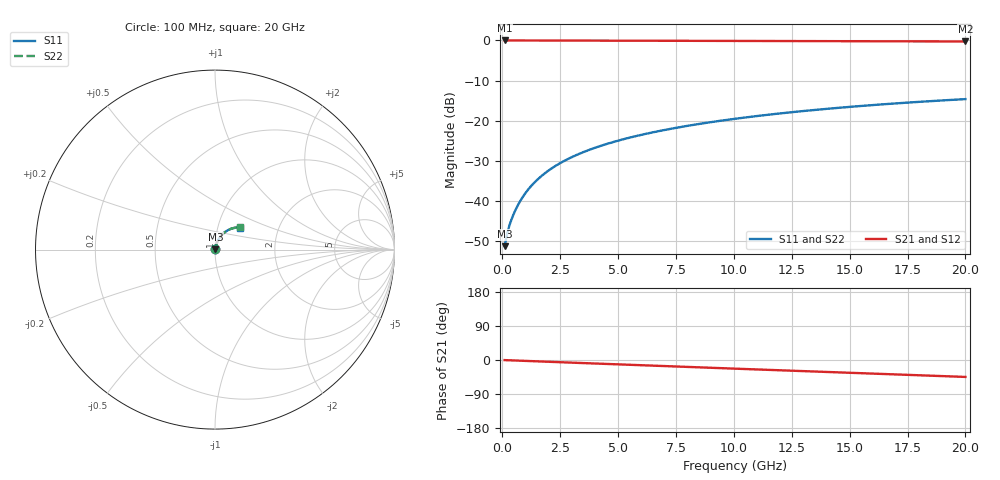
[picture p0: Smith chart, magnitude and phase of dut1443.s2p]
! Touchstone file exported from HFSS 2026.1.0
!  File:  C:/ffzhzh/LocalFiles/Ansys_Project_Files/temp_train_TMRDL_1443_1783167048_43440.aedt
!  Generated:  08:12:01 PM Jul  4, 2026
!  Design:  TMRDL
!  Project:  temp_train_TMRDL_1443_1783167048_43440
! Variables:
!  h_bsmrdl = 2um
!  h_ox = 20um
!  h_rdl = 5um
!  h_sub = 80um
!  h_tmrdl = 4.89um
!  h_tsv = 80um
!  h_via = 3um
!  l_bsmrdl = 300um
!  l_sub = 1162.42um
!  l_tmrdl = 762.42um
!  m_sub = 200um
!  pitch = 40.24um
!  r_tsv = 6um
!  s_tmrdl = 10um
!  w_bsmrdl = 18um
!  w_sub = 500um
!  w_tmrdl = 28.34um
!  x_tsv_center1 = 776.59um
!  x_tsv_center2 = 1094.59um
!  x_tsv_center3 = 1885.35um
!  x_tsv_center4 = 2203.35um
!  x_tsv_center5 = 2994.11um
!  x_tsv_center6 = 3312.11um
# GHz S MA R 50.000000
! Terminal data exported
! Port[1] = TM_RDL1_1_T1
! Port[2] = TM_RDL1_1_T2
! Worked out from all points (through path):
!   200 points, 100 MHz to 20 GHz, reference 50 ohm
!   highest |S21| = -0.02 dB at 100 MHz (marker M1); lowest = -0.3 dB at 20 GHz (marker M2)
!   group delay of S21, straight-line fit = 6.19 ps
!   lowest |S11| = -51.2 dB at 100 MHz (marker M3), VSWR 1.01, Z = 50.2 + j0.159 ohm
!   |S11| at or under -10 dB: start of sweep to end of sweep
!   |S22| runs from -51.2 to -14.6 dB; largest |S21 - S12| = 3.4e-15
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0.1  0.002762 35.1  0.9977 -0.3  0.9977 -0.3  0.002762 35.1
! Gamma 0 0 0 0
! Port Impedance 50 0 50 0
0.2  0.003869 48.2  0.9974 -0.5  0.9974 -0.5  0.003869 48.2
0.3  0.004923 55.2  0.9972 -0.7  0.9972 -0.7  0.004923 55.2
0.4  0.005966 60.1  0.9971 -1.0  0.9971 -1.0  0.005966 60.1
0.5  0.007029 63.7  0.997 -1.2  0.997 -1.2  0.007029 63.7
0.6  0.008116 66.5  0.9969 -1.4  0.9969 -1.4  0.008116 66.5
0.8  0.01035 70.3  0.9968 -1.9  0.9968 -1.9  0.01035 70.3
1  0.01262 72.6  0.9966 -2.4  0.9966 -2.4  0.01262 72.6
1.2  0.01492 74.0  0.9965 -2.8  0.9965 -2.8  0.01492 74.0
1.4  0.01723 74.8  0.9963 -3.3  0.9963 -3.3  0.01723 74.8
1.7  0.02068 75.5  0.996 -4.0  0.996 -4.0  0.02068 75.5
2.2  0.02639 75.7  0.9954 -5.1  0.9954 -5.1  0.02639 75.7
2.8  0.03312 75.2  0.9947 -6.5  0.9947 -6.5  0.03312 75.2
3.5  0.04079 74.2  0.9937 -8.1  0.9937 -8.1  0.04079 74.2
4.2  0.04828 73.0  0.9927 -9.7  0.9927 -9.7  0.04827 73.0
5  0.05664 71.5  0.9916 -11.5  0.9916 -11.5  0.05664 71.6
6.8  0.07485 68.1  0.989 -15.6  0.989 -15.6  0.07485 68.1
8.3  0.08948 65.2  0.9868 -19.0  0.9868 -19.0  0.08947 65.2
10.1  0.1064 61.6  0.9842 -23.0  0.9842 -23.0  0.1064 61.7
13.4  0.1357 54.9  0.9792 -30.3  0.9792 -30.3  0.1357 55.0
16.7  0.1624 48.2  0.9741 -37.5  0.9741 -37.5  0.1624 48.3
20  0.1861 41.4  0.969 -44.7  0.969 -44.7  0.1861 41.5
